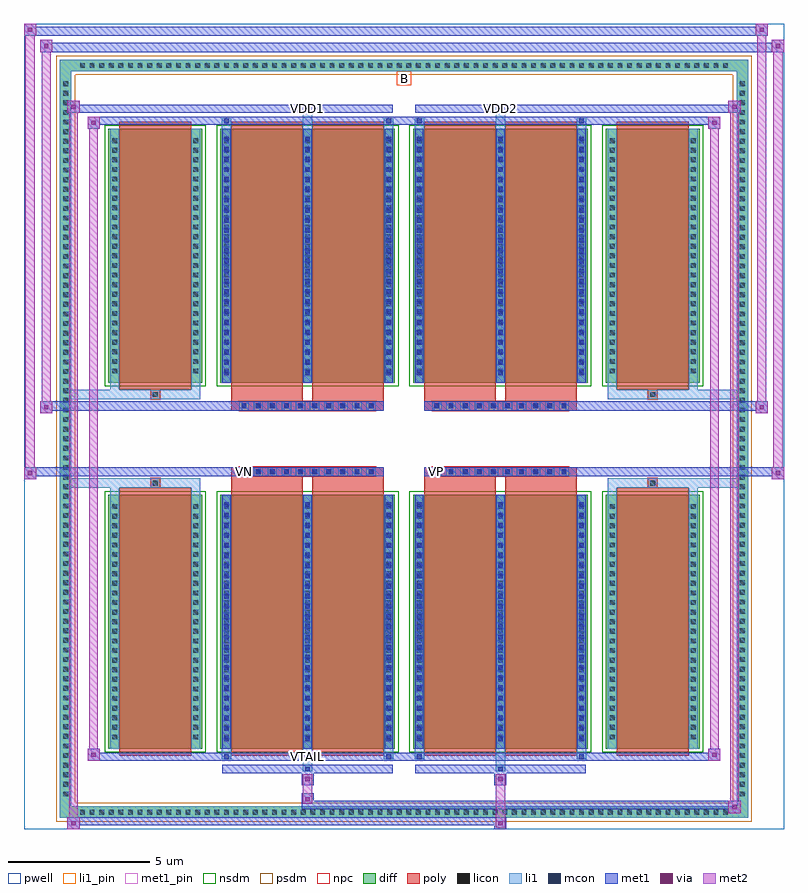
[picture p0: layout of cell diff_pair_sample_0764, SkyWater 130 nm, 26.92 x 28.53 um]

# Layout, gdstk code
import gdstk
lib = gdstk.Library(unit=1e-6, precision=5e-09)
def R(c, l, rs):  # rectangles x0, y0, x1, y1
    for r in rs: c.add(gdstk.rectangle(r[:2], r[2:], *l))
def A(c, l, x, y, w, h, nx, ny, dx, dy):  # array of equal rectangles
    R(c, l, [(x+i*dx, y+j*dy, x+i*dx+w, y+j*dy+h) for i in range(nx) for j in range(ny)])
def P(c, l, *ps):  # polygons
    for p in ps: c.add(gdstk.Polygon(p, *l))
pwell = (64, 44)
diff = (65, 20)
poly = (66, 20)
licon = (66, 44)
li1_pin = (67, 16)
li1 = (67, 20)
mcon = (67, 44)
met1_pin = (68, 16)
met1 = (68, 20)
via = (68, 44)
met2 = (69, 20)
nsdm = (93, 44)
psdm = (94, 20)
npc = (95, 20)

diff_pair_sample_0764 = lib.new_cell('diff_pair_sample_0764')
R(diff_pair_sample_0764, pwell, [(-13.46,-13.83,13.46,14.7), (-10.78,-12.02,-0.01,-0.8), (0.01,-12.02,10.78,-0.8), (-10.78,0.8,-0.01,12.02), (0.01,0.8,10.78,12.02)])
A(diff_pair_sample_0764, diff, -11.595, -13.43, 0.41, 0.41, 68, 2, 0.34, 26.45)
A(diff_pair_sample_0764, diff, -12.19, -12.785, 0.41, 0.41, 1, 75, 0, 0.34)
A(diff_pair_sample_0764, diff, 11.78, -12.785, 0.41, 0.41, 1, 75, 0, 0.34)
R(diff_pair_sample_0764, diff, [(-11.595,-13.43,11.595,-13.02), (-12.19,-12.785,-11.78,12.785), (11.78,-12.785,12.19,12.785), (-10.47,-10.975,-7.15,-1.985), (-6.51,-10.975,-0.32,-1.985), (0.32,-10.975,6.51,-1.985), (7.15,-10.975,10.47,-1.985), (-10.47,1.985,-7.15,10.975), (-6.51,1.985,-0.32,10.975), (0.32,1.985,6.51,10.975), (7.15,1.985,10.47,10.975), (-11.595,13.02,11.595,13.43)])
P(diff_pair_sample_0764, diff, [(12.19,13.43),(-12.19,13.43),(-12.19,-13.02),(-11.78,-13.02),(-11.78,13.02),(11.78,13.02),(11.78,-13.02),(-11.78,-13.02),(-12.19,-13.02),(-12.19,-13.43),(12.19,-13.43)])
A(diff_pair_sample_0764, poly, -5.83, -1.33, 0.33, 0.33, 10, 2, 0.5, 2.33)
A(diff_pair_sample_0764, poly, 1, -1.33, 0.33, 0.33, 10, 2, 0.5, 2.33)
R(diff_pair_sample_0764, poly, [(-10.08,-11.225,-7.54,-1.735), (-6.12,-11.225,-3.58,-1.735), (-3.25,-11.225,-0.71,-1.735), (0.71,-11.225,3.25,-1.735), (3.58,-11.225,6.12,-1.735), (7.54,-11.225,10.08,-1.735), (-8.975,-1.735,-8.645,-1.405), (-8.975,-1.735,-8.645,-1.405), (-6.12,-1.735,-3.58,-1.33), (-3.25,-1.735,-0.71,-1.33), (0.71,-1.735,3.25,-1.33), (3.58,-1.735,6.12,-1.33), (8.645,-1.735,8.975,-1.405), (8.645,-1.735,8.975,-1.405), (-6.12,-1.33,-0.71,-1), (0.71,-1.33,6.12,-1), (-6.12,1,-0.71,1.33), (0.71,1,6.12,1.33), (-6.12,1.33,-3.58,1.735), (-3.25,1.33,-0.71,1.735), (0.71,1.33,3.25,1.735), (3.58,1.33,6.12,1.735), (-8.975,1.405,-8.645,1.735), (-8.975,1.405,-8.645,1.735), (8.645,1.405,8.975,1.735), (8.645,1.405,8.975,1.735), (-10.08,1.735,-7.54,11.225), (-6.12,1.735,-3.58,11.225), (-3.25,1.735,-0.71,11.225), (0.71,1.735,3.25,11.225), (3.58,1.735,6.12,11.225), (7.54,1.735,10.08,11.225)])
A(diff_pair_sample_0764, licon, -11.475, -13.31, 0.17, 0.17, 68, 2, 0.34, 26.45)
A(diff_pair_sample_0764, licon, -12.07, -12.665, 0.17, 0.17, 1, 75, 0, 0.34)
A(diff_pair_sample_0764, licon, 11.9, -12.665, 0.17, 0.17, 1, 75, 0, 0.34)
A(diff_pair_sample_0764, licon, -10.33, -10.645, 0.17, 0.17, 1, 25, 0, 0.34)
A(diff_pair_sample_0764, licon, -7.46, -10.645, 0.17, 0.17, 1, 25, 0, 0.34)
A(diff_pair_sample_0764, licon, -6.37, -10.645, 0.17, 0.17, 3, 25, 2.87, 0.34)
A(diff_pair_sample_0764, licon, 0.46, -10.645, 0.17, 0.17, 3, 25, 2.87, 0.34)
A(diff_pair_sample_0764, licon, 7.29, -10.645, 0.17, 0.17, 1, 25, 0, 0.34)
A(diff_pair_sample_0764, licon, 10.16, -10.645, 0.17, 0.17, 1, 25, 0, 0.34)
A(diff_pair_sample_0764, licon, -5.75, -1.25, 0.17, 0.17, 10, 2, 0.5, 2.33)
A(diff_pair_sample_0764, licon, 1.08, -1.25, 0.17, 0.17, 10, 2, 0.5, 2.33)
A(diff_pair_sample_0764, licon, -10.33, 2.315, 0.17, 0.17, 1, 25, 0, 0.34)
A(diff_pair_sample_0764, licon, -7.46, 2.315, 0.17, 0.17, 1, 25, 0, 0.34)
A(diff_pair_sample_0764, licon, -6.37, 2.315, 0.17, 0.17, 3, 25, 2.87, 0.34)
A(diff_pair_sample_0764, licon, 0.46, 2.315, 0.17, 0.17, 3, 25, 2.87, 0.34)
A(diff_pair_sample_0764, licon, 7.29, 2.315, 0.17, 0.17, 1, 25, 0, 0.34)
A(diff_pair_sample_0764, licon, 10.16, 2.315, 0.17, 0.17, 1, 25, 0, 0.34)
R(diff_pair_sample_0764, licon, [(-8.895,-1.655,-8.725,-1.485), (8.725,-1.655,8.895,-1.485), (-8.895,1.485,-8.725,1.655), (8.725,1.485,8.895,1.655)])
R(diff_pair_sample_0764, li1_pin, [(-0.25,12.52,0.25,13.02)])
A(diff_pair_sample_0764, li1, -11.555, -13.39, 0.33, 0.33, 68, 2, 0.34, 26.45)
A(diff_pair_sample_0764, li1, -12.15, -12.745, 0.33, 0.33, 1, 75, 0, 0.34)
A(diff_pair_sample_0764, li1, 11.82, -12.745, 0.33, 0.33, 1, 75, 0, 0.34)
A(diff_pair_sample_0764, li1, -6.45, -10.975, 0.33, 8.99, 3, 2, 2.87, 12.96)
A(diff_pair_sample_0764, li1, 0.38, -10.975, 0.33, 8.99, 3, 2, 2.87, 12.96)
A(diff_pair_sample_0764, li1, -10.41, -10.725, 0.33, 0.33, 1, 25, 0, 0.34)
A(diff_pair_sample_0764, li1, -7.54, -10.725, 0.33, 0.33, 1, 25, 0, 0.34)
A(diff_pair_sample_0764, li1, -6.45, -10.725, 0.33, 0.33, 3, 25, 2.87, 0.34)
A(diff_pair_sample_0764, li1, 0.38, -10.725, 0.33, 0.33, 3, 25, 2.87, 0.34)
A(diff_pair_sample_0764, li1, 7.21, -10.725, 0.33, 0.33, 1, 25, 0, 0.34)
A(diff_pair_sample_0764, li1, 10.08, -10.725, 0.33, 0.33, 1, 25, 0, 0.34)
A(diff_pair_sample_0764, li1, -6.37, -10.705, 0.17, 0.17, 3, 24, 2.87, 0.36)
A(diff_pair_sample_0764, li1, -6.37, -10.705, 0.17, 8.45, 3, 2, 2.87, 12.96)
A(diff_pair_sample_0764, li1, 0.46, -10.705, 0.17, 0.17, 3, 24, 2.87, 0.36)
A(diff_pair_sample_0764, li1, 0.46, -10.705, 0.17, 8.45, 3, 2, 2.87, 12.96)
A(diff_pair_sample_0764, li1, -5.83, -1.33, 0.33, 0.33, 10, 2, 0.5, 2.33)
A(diff_pair_sample_0764, li1, 1, -1.33, 0.33, 0.33, 10, 2, 0.5, 2.33)
A(diff_pair_sample_0764, li1, -10.41, 2.235, 0.33, 0.33, 1, 25, 0, 0.34)
A(diff_pair_sample_0764, li1, -7.54, 2.235, 0.33, 0.33, 1, 25, 0, 0.34)
A(diff_pair_sample_0764, li1, -6.45, 2.235, 0.33, 0.33, 3, 25, 2.87, 0.34)
A(diff_pair_sample_0764, li1, 0.38, 2.235, 0.33, 0.33, 3, 25, 2.87, 0.34)
A(diff_pair_sample_0764, li1, 7.21, 2.235, 0.33, 0.33, 1, 25, 0, 0.34)
A(diff_pair_sample_0764, li1, 10.08, 2.235, 0.33, 0.33, 1, 25, 0, 0.34)
A(diff_pair_sample_0764, li1, -6.37, 2.255, 0.17, 0.17, 3, 24, 2.87, 0.36)
A(diff_pair_sample_0764, li1, 0.46, 2.255, 0.17, 0.17, 3, 24, 2.87, 0.36)
R(diff_pair_sample_0764, li1, [(-12.19,-13.43,-11.78,-13.02), (-12.19,-13.43,-11.78,-13.02), (-11.78,-13.43,11.78,-13.02), (11.78,-13.43,12.19,-13.02), (11.78,-13.43,12.19,-13.02), (-12.19,-13.02,-11.78,13.02), (11.78,-13.02,12.19,13.02), (-3.58,-11.78,-3.25,-10.975), (-3.5,-11.78,-3.33,-11.61), (3.25,-11.78,3.58,-10.975), (3.33,-11.78,3.5,-11.61), (-6.45,-11.35,-6.12,-10.975), (-6.37,-11.35,-6.2,-11.18), (-0.71,-11.35,-0.38,-10.975), (-0.63,-11.35,-0.46,-11.18), (0.38,-11.35,0.71,-10.975), (0.46,-11.35,0.63,-11.18), (6.12,-11.35,6.45,-10.975), (6.2,-11.35,6.37,-11.18), (-10.41,-10.975,-10.08,-1.985), (-7.54,-10.975,-7.21,-1.985), (7.21,-10.975,7.54,-1.985), (10.08,-10.975,10.41,-1.985), (-10.41,-1.985,-10.08,-1.405), (-7.54,-1.985,-7.21,-1.405), (7.21,-1.985,7.54,-1.405), (10.08,-1.985,10.41,-1.405), (-12.19,-1.735,-8.975,-1.405), (-10.41,-1.735,-8.975,-1.405), (-8.975,-1.735,-8.645,-1.405), (-8.645,-1.735,-7.21,-1.405), (7.21,-1.735,8.645,-1.405), (8.645,-1.735,8.975,-1.405), (8.645,-1.735,12.19,-1.405), (8.975,-1.735,10.41,-1.405), (-12.19,1.405,-8.975,1.735), (-10.41,1.405,-8.975,1.735), (-10.41,1.405,-10.08,1.985), (-8.975,1.405,-8.645,1.735), (-8.645,1.405,-7.21,1.735), (-7.54,1.405,-7.21,1.985), (7.21,1.405,8.645,1.735), (7.21,1.405,7.54,1.985), (8.645,1.405,8.975,1.735), (8.645,1.405,12.19,1.735), (8.975,1.405,10.41,1.735), (10.08,1.405,10.41,1.985), (-10.41,1.985,-10.08,10.975), (-7.54,1.985,-7.21,10.975), (7.21,1.985,7.54,10.975), (10.08,1.985,10.41,10.975), (-6.45,10.975,-6.12,11.35), (-3.58,10.975,-3.25,11.78), (-0.71,10.975,-0.38,11.35), (0.38,10.975,0.71,11.35), (3.25,10.975,3.58,11.78), (6.12,10.975,6.45,11.35), (-6.37,11.18,-6.2,11.35), (-0.63,11.18,-0.46,11.35), (0.46,11.18,0.63,11.35), (6.2,11.18,6.37,11.35), (-3.5,11.61,-3.33,11.78), (3.33,11.61,3.5,11.78), (-12.19,13.02,-11.78,13.43), (-12.19,13.02,-11.78,13.43), (-11.78,13.02,11.78,13.43), (11.78,13.02,12.19,13.43), (11.78,13.02,12.19,13.43)])
A(diff_pair_sample_0764, mcon, -6.37, -10.705, 0.17, 0.17, 3, 24, 2.87, 0.36)
A(diff_pair_sample_0764, mcon, 0.46, -10.705, 0.17, 0.17, 3, 24, 2.87, 0.36)
A(diff_pair_sample_0764, mcon, -5.75, -1.25, 0.17, 0.17, 10, 2, 0.5, 2.33)
A(diff_pair_sample_0764, mcon, 1.08, -1.25, 0.17, 0.17, 10, 2, 0.5, 2.33)
A(diff_pair_sample_0764, mcon, -6.37, 2.255, 0.17, 0.17, 3, 24, 2.87, 0.36)
A(diff_pair_sample_0764, mcon, 0.46, 2.255, 0.17, 0.17, 3, 24, 2.87, 0.36)
R(diff_pair_sample_0764, mcon, [(-3.5,-11.78,-3.33,-11.61), (3.33,-11.78,3.5,-11.61), (-6.37,-11.35,-6.2,-11.18), (-0.63,-11.35,-0.46,-11.18), (0.46,-11.35,0.63,-11.18), (6.2,-11.35,6.37,-11.18), (-6.37,11.18,-6.2,11.35), (-0.63,11.18,-0.46,11.35), (0.46,11.18,0.63,11.35), (6.2,11.18,6.37,11.35), (-3.5,11.61,-3.33,11.78), (3.33,11.61,3.5,11.78)])
R(diff_pair_sample_0764, met1_pin, [(-3.55,-11.39,-3.28,-11.12), (-5.8,-1.29,-5.53,-1.02), (1.03,-1.29,1.3,-1.02), (-3.55,11.57,-3.28,11.84), (3.28,11.57,3.55,11.84)])
A(diff_pair_sample_0764, met1, -6.43, -10.975, 0.29, 8.99, 3, 2, 2.87, 12.96)
A(diff_pair_sample_0764, met1, 0.4, -10.975, 0.29, 8.99, 3, 2, 2.87, 12.96)
A(diff_pair_sample_0764, met1, -6.43, -10.765, 0.29, 0.29, 3, 24, 2.87, 0.36)
A(diff_pair_sample_0764, met1, 0.4, -10.765, 0.29, 0.29, 3, 24, 2.87, 0.36)
A(diff_pair_sample_0764, met1, -5.81, -1.31, 0.29, 0.29, 10, 2, 0.5, 2.33)
A(diff_pair_sample_0764, met1, 1.02, -1.31, 0.29, 0.29, 10, 2, 0.5, 2.33)
A(diff_pair_sample_0764, met1, -6.43, 2.195, 0.29, 0.29, 3, 24, 2.87, 0.36)
A(diff_pair_sample_0764, met1, 0.4, 2.195, 0.29, 0.29, 3, 24, 2.87, 0.36)
R(diff_pair_sample_0764, met1, [(-11.92,-13.83,-11.49,-13.4), (3.2,-13.83,3.63,-13.4), (-11.92,-13.69,3.63,-13.4), (11.49,-13.26,11.92,-12.83), (-3.63,-13.12,11.92,-12.83), (-3.63,-12.98,-3.2,-12.55), (-3.63,-12.27,-3.2,-11.84), (3.2,-12.27,3.63,-11.84), (-6.43,-11.84,-0.4,-11.55), (-3.56,-11.84,-3.27,-11.55), (0.4,-11.84,6.43,-11.55), (3.27,-11.84,3.56,-11.55), (-11.21,-11.41,-10.78,-10.98), (-11.21,-11.41,-6.43,-11.12), (-6.43,-11.41,-6.14,-11.12), (-6.43,-11.41,-0.4,-11.12), (-0.69,-11.41,-0.4,-11.12), (-0.4,-11.41,0.4,-11.12), (0.4,-11.41,0.69,-11.12), (0.4,-11.41,6.43,-11.12), (6.14,-11.41,6.43,-11.12), (6.43,-11.41,11.21,-11.12), (10.78,-11.41,11.21,-10.98), (-13.46,-1.43,-13.03,-1), (13.03,-1.43,13.46,-1), (-13.46,-1.33,-0.71,-1), (-6.12,-1.33,-0.71,-1), (0.71,-1.33,6.12,-1), (0.71,-1.33,13.46,-1), (-12.89,0.9,-12.46,1.33), (12.46,0.9,12.89,1.33), (-12.89,1,-6.12,1.33), (-6.12,1,-0.71,1.33), (0.71,1,6.12,1.33), (6.12,1,12.89,1.33), (-11.21,10.98,-10.78,11.41), (10.78,10.98,11.21,11.41), (-11.21,11.12,-6.43,11.41), (-6.43,11.12,-6.14,11.41), (-6.43,11.12,-0.4,11.41), (-0.69,11.12,-0.4,11.41), (-0.4,11.12,0.4,11.41), (0.4,11.12,0.69,11.41), (0.4,11.12,6.43,11.41), (6.14,11.12,6.43,11.41), (6.43,11.12,11.21,11.41), (-11.92,11.55,-11.49,11.98), (-11.92,11.55,-6.43,11.84), (-6.43,11.55,-0.4,11.84), (-3.56,11.55,-3.27,11.84), (0.4,11.55,6.43,11.84), (3.27,11.55,3.56,11.84), (6.43,11.55,11.92,11.84), (11.49,11.55,11.92,11.98), (-12.89,13.7,-12.46,14.13), (-12.89,13.7,-10.78,14.03), (-10.78,13.7,10.78,14.03), (10.78,13.7,13.46,14.03), (13.03,13.7,13.46,14.13), (-13.46,14.27,-13.03,14.7), (-13.46,14.27,-10.78,14.6), (-10.78,14.27,10.78,14.6), (10.78,14.27,12.89,14.6), (12.46,14.27,12.89,14.7)])
R(diff_pair_sample_0764, via, [(-11.78,-13.69,-11.63,-13.54), (3.34,-13.69,3.49,-13.54), (11.63,-13.12,11.78,-12.97), (-3.49,-12.84,-3.34,-12.69), (-3.49,-12.13,-3.34,-11.98), (3.34,-12.13,3.49,-11.98), (-11.07,-11.27,-10.92,-11.12), (10.92,-11.27,11.07,-11.12), (-13.32,-1.29,-13.17,-1.14), (13.17,-1.29,13.32,-1.14), (-12.75,1.04,-12.6,1.19), (12.6,1.04,12.75,1.19), (-11.07,11.12,-10.92,11.27), (10.92,11.12,11.07,11.27), (-11.78,11.69,-11.63,11.84), (11.63,11.69,11.78,11.84), (-12.75,13.84,-12.6,13.99), (13.17,13.84,13.32,13.99), (-13.32,14.41,-13.17,14.56), (12.6,14.41,12.75,14.56)])
R(diff_pair_sample_0764, met2, [(-11.92,-13.83,-11.49,-13.4), (-11.85,-13.83,-11.56,11.98), (-11.56,-13.83,-11.49,-13.4), (-11.87,-13.78,-11.54,-13.45), (3.25,-13.78,3.58,-13.45), (3.25,-13.45,3.58,-12.22), (11.49,-13.26,11.92,-12.83), (11.56,-13.26,11.85,11.98), (11.85,-13.26,11.92,-12.83), (11.54,-13.21,11.87,-12.88), (-3.58,-12.93,-3.25,-12.6), (-3.58,-12.6,-3.25,-12.22), (-3.58,-12.22,-3.25,-11.89), (3.25,-12.22,3.58,-11.89), (-11.21,-11.41,-10.78,-10.98), (-11.14,-11.41,-10.85,11.41), (-10.85,-11.41,-10.78,-10.98), (10.78,-11.41,11.21,-10.98), (10.85,-11.41,11.14,11.41), (11.14,-11.41,11.21,-10.98), (-11.16,-11.36,-10.83,-11.03), (10.83,-11.36,11.16,-11.03), (-13.46,-1.43,-13.03,-1), (-13.41,-1.43,-13.08,14.7), (-13.08,-1.43,-13.03,-1), (13.03,-1.43,13.46,-1), (13.08,-1.43,13.41,14.13), (13.41,-1.43,13.46,-1), (-13.41,-1.38,-13.08,-1.05), (13.08,-1.38,13.41,-1.05), (-12.89,0.9,-12.46,1.33), (-12.84,0.9,-12.51,14.13), (-12.51,0.9,-12.46,1.33), (12.46,0.9,12.89,1.33), (12.51,0.9,12.84,14.7), (12.84,0.9,12.89,1.33), (-12.84,0.95,-12.51,1.28), (12.51,0.95,12.84,1.28), (-11.21,10.98,-10.78,11.41), (-10.85,10.98,-10.78,11.41), (10.78,10.98,11.21,11.41), (11.14,10.98,11.21,11.41), (-11.16,11.03,-10.83,11.36), (10.83,11.03,11.16,11.36), (-11.92,11.55,-11.49,11.98), (-11.56,11.55,-11.49,11.98), (11.49,11.55,11.92,11.98), (11.85,11.55,11.92,11.98), (-11.87,11.6,-11.54,11.93), (11.54,11.6,11.87,11.93), (-12.89,13.7,-12.46,14.13), (-12.51,13.7,-12.46,14.13), (13.03,13.7,13.46,14.13), (13.41,13.7,13.46,14.13), (-12.84,13.75,-12.51,14.08), (13.08,13.75,13.41,14.08), (-13.46,14.27,-13.03,14.7), (-13.08,14.27,-13.03,14.7), (12.46,14.27,12.89,14.7), (12.84,14.27,12.89,14.7), (-13.41,14.32,-13.08,14.65), (12.51,14.32,12.84,14.65)])
R(diff_pair_sample_0764, nsdm, [(-10.6,-11.105,-7.02,-1.855), (-6.64,-11.105,-0.19,-1.855), (0.19,-11.105,6.64,-1.855), (7.02,-11.105,10.6,-1.855), (-10.6,1.855,-7.02,11.105), (-6.64,1.855,-0.19,11.105), (0.19,1.855,6.64,11.105), (7.02,1.855,10.6,11.105)])
P(diff_pair_sample_0764, psdm, [(12.32,13.56),(-12.32,13.56),(-12.32,-12.89),(-11.65,-12.89),(-11.65,12.89),(11.65,12.89),(11.65,-12.89),(-11.65,-12.89),(-12.32,-12.89),(-12.32,-13.56),(12.32,-13.56)])
A(diff_pair_sample_0764, npc, -5.85, -1.35, 0.37, 0.37, 10, 2, 0.5, 2.33)
A(diff_pair_sample_0764, npc, 0.98, -1.35, 0.37, 0.37, 10, 2, 0.5, 2.33)
R(diff_pair_sample_0764, npc, [(-8.995,-1.755,-8.625,-1.385), (8.625,-1.755,8.995,-1.385), (-5.85,-1.35,-4.98,-0.98), (-5.85,-1.35,-4.98,-0.98), (-5.35,-1.35,-4.48,-0.98), (-5.35,-1.35,-4.48,-0.98), (-4.85,-1.35,-3.98,-0.98), (-4.85,-1.35,-3.98,-0.98), (-4.35,-1.35,-3.48,-0.98), (-4.35,-1.35,-3.48,-0.98), (-3.85,-1.35,-2.98,-0.98), (-3.85,-1.35,-2.98,-0.98), (-3.35,-1.35,-2.48,-0.98), (-3.35,-1.35,-2.48,-0.98), (-2.85,-1.35,-1.98,-0.98), (-2.85,-1.35,-1.98,-0.98), (-2.35,-1.35,-1.48,-0.98), (-2.35,-1.35,-1.48,-0.98), (-1.85,-1.35,-0.98,-0.98), (-1.85,-1.35,-0.98,-0.98), (0.98,-1.35,1.85,-0.98), (0.98,-1.35,1.85,-0.98), (1.48,-1.35,2.35,-0.98), (1.48,-1.35,2.35,-0.98), (1.98,-1.35,2.85,-0.98), (1.98,-1.35,2.85,-0.98), (2.48,-1.35,3.35,-0.98), (2.48,-1.35,3.35,-0.98), (2.98,-1.35,3.85,-0.98), (2.98,-1.35,3.85,-0.98), (3.48,-1.35,4.35,-0.98), (3.48,-1.35,4.35,-0.98), (3.98,-1.35,4.85,-0.98), (3.98,-1.35,4.85,-0.98), (4.48,-1.35,5.35,-0.98), (4.48,-1.35,5.35,-0.98), (4.98,-1.35,5.85,-0.98), (4.98,-1.35,5.85,-0.98), (-5.85,0.98,-4.98,1.35), (-5.85,0.98,-4.98,1.35), (-5.35,0.98,-4.48,1.35), (-5.35,0.98,-4.48,1.35), (-4.85,0.98,-3.98,1.35), (-4.85,0.98,-3.98,1.35), (-4.35,0.98,-3.48,1.35), (-4.35,0.98,-3.48,1.35), (-3.85,0.98,-2.98,1.35), (-3.85,0.98,-2.98,1.35), (-3.35,0.98,-2.48,1.35), (-3.35,0.98,-2.48,1.35), (-2.85,0.98,-1.98,1.35), (-2.85,0.98,-1.98,1.35), (-2.35,0.98,-1.48,1.35), (-2.35,0.98,-1.48,1.35), (-1.85,0.98,-0.98,1.35), (-1.85,0.98,-0.98,1.35), (0.98,0.98,1.85,1.35), (0.98,0.98,1.85,1.35), (1.48,0.98,2.35,1.35), (1.48,0.98,2.35,1.35), (1.98,0.98,2.85,1.35), (1.98,0.98,2.85,1.35), (2.48,0.98,3.35,1.35), (2.48,0.98,3.35,1.35), (2.98,0.98,3.85,1.35), (2.98,0.98,3.85,1.35), (3.48,0.98,4.35,1.35), (3.48,0.98,4.35,1.35), (3.98,0.98,4.85,1.35), (3.98,0.98,4.85,1.35), (4.48,0.98,5.35,1.35), (4.48,0.98,5.35,1.35), (4.98,0.98,5.85,1.35), (4.98,0.98,5.85,1.35), (-8.995,1.385,-8.625,1.755), (8.625,1.385,8.995,1.755)])
diff_pair_sample_0764.add(gdstk.Label('VTAIL', (-3.415,-11.255), layer=68, texttype=5))
diff_pair_sample_0764.add(gdstk.Label('VN', (-5.665,-1.155), layer=68, texttype=5))
diff_pair_sample_0764.add(gdstk.Label('VP', (1.165,-1.155), layer=68, texttype=5))
diff_pair_sample_0764.add(gdstk.Label('B', (0,12.77), layer=67, texttype=5))
diff_pair_sample_0764.add(gdstk.Label('VDD2', (3.415,11.705), layer=68, texttype=5))
diff_pair_sample_0764.add(gdstk.Label('VDD1', (-3.415,11.705), layer=68, texttype=5))

lib.write_gds('diff_pair_sample_0764.gds')
